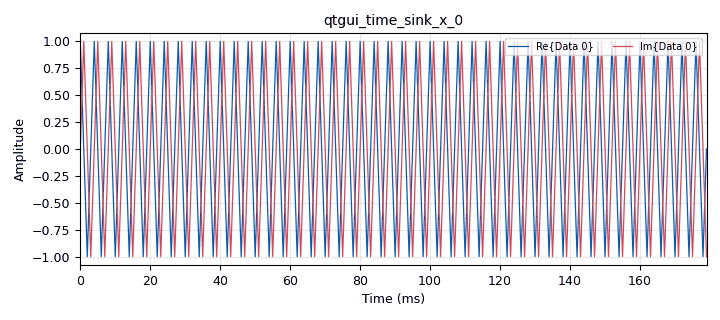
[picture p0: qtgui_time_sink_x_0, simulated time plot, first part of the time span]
<?xml version='1.0' encoding='utf-8'?>
<?grc format='1' created='3.7.10'?>
<flow_graph>
<block>
<key>options</key>
<param><key>id</key><value>top_block</value></param>
<param><key>category</key><value>Custom</value></param>
<param><key>generate_options</key><value>qt_gui</value></param>
</block>
<block>
<key>variable</key>
<param><key>id</key><value>samp_rate</value></param>
<param><key>value</key><value>1e3</value></param>
</block>
<block>
<key>analog_sig_source_x</key>
<param><key>id</key><value>analog_sig_source_x_0</value></param>
<param><key>amp</key><value>1</value></param>
<param><key>freq</key><value>250</value></param>
<param><key>offset</key><value>0</value></param>
<param><key>type</key><value>complex</value></param>
<param><key>samp_rate</key><value>samp_rate</value></param>
<param><key>waveform</key><value>analog.GR_COS_WAVE</value></param>
</block>
<block>
<key>blocks_message_debug</key>
<param><key>id</key><value>blocks_message_debug_0</value></param>
</block>
<block>
<key>blocks_message_strobe</key>
<param><key>id</key><value>blocks_message_strobe_1</value></param>
<param><key>msg</key><value>pmt.intern("TEST")</value></param>
<param><key>period</key><value>5000</value></param>
</block>
<block>
<key>blocks_random_pdu</key>
<param><key>id</key><value>blocks_random_pdu_0</value></param>
<param><key>mask</key><value>0xFF</value></param>
<param><key>length_modulo</key><value>1</value></param>
<param><key>maxsize</key><value>255</value></param>
<param><key>minsize</key><value>255</value></param>
</block>
<block>
<key>blocks_throttle</key>
<param><key>id</key><value>blocks_throttle_0</value></param>
<param><key>samples_per_second</key><value>samp_rate</value></param>
<param><key>type</key><value>complex</value></param>
</block>
<block>
<key>ccsds_rs_decode_pdu</key>
<param><key>id</key><value>ccsds_rs_decode_pdu_0</value></param>
<param><key>interleave</key><value>1</value></param>
</block>
<block>
<key>message_tools_msg_vector_sink</key>
<param><key>id</key><value>message_tools_msg_vector_sink_0</value></param>
<param><key>vlen</key><value>1</value></param>
</block>
<block>
<key>qtgui_time_sink_x</key>
<param><key>id</key><value>qtgui_time_sink_x_0</value></param>
<param><key>color1</key><value>"blue"</value></param>
<param><key>label1</key><value></value></param>
<param><key>color2</key><value>"red"</value></param>
<param><key>label2</key><value></value></param>
<param><key>size</key><value>1024</value></param>
<param><key>srate</key><value>samp_rate</value></param>
<param><key>type</key><value>complex</value></param>
</block>
<connection><source_block_id>analog_sig_source_x_0</source_block_id><sink_block_id>blocks_throttle_0</sink_block_id><source_key>0</source_key><sink_key>0</sink_key></connection>
<connection><source_block_id>blocks_message_strobe_1</source_block_id><sink_block_id>blocks_random_pdu_0</sink_block_id><source_key>strobe</source_key><sink_key>generate</sink_key></connection>
<connection><source_block_id>blocks_random_pdu_0</source_block_id><sink_block_id>ccsds_rs_decode_pdu_0</sink_block_id><source_key>pdus</source_key><sink_key>pdu_in</sink_key></connection>
<connection><source_block_id>blocks_throttle_0</source_block_id><sink_block_id>qtgui_time_sink_x_0</sink_block_id><source_key>0</source_key><sink_key>0</sink_key></connection>
<connection><source_block_id>ccsds_rs_decode_pdu_0</source_block_id><sink_block_id>blocks_message_debug_0</sink_block_id><source_key>pdu_out</source_key><sink_key>print</sink_key></connection>
</flow_graph>
